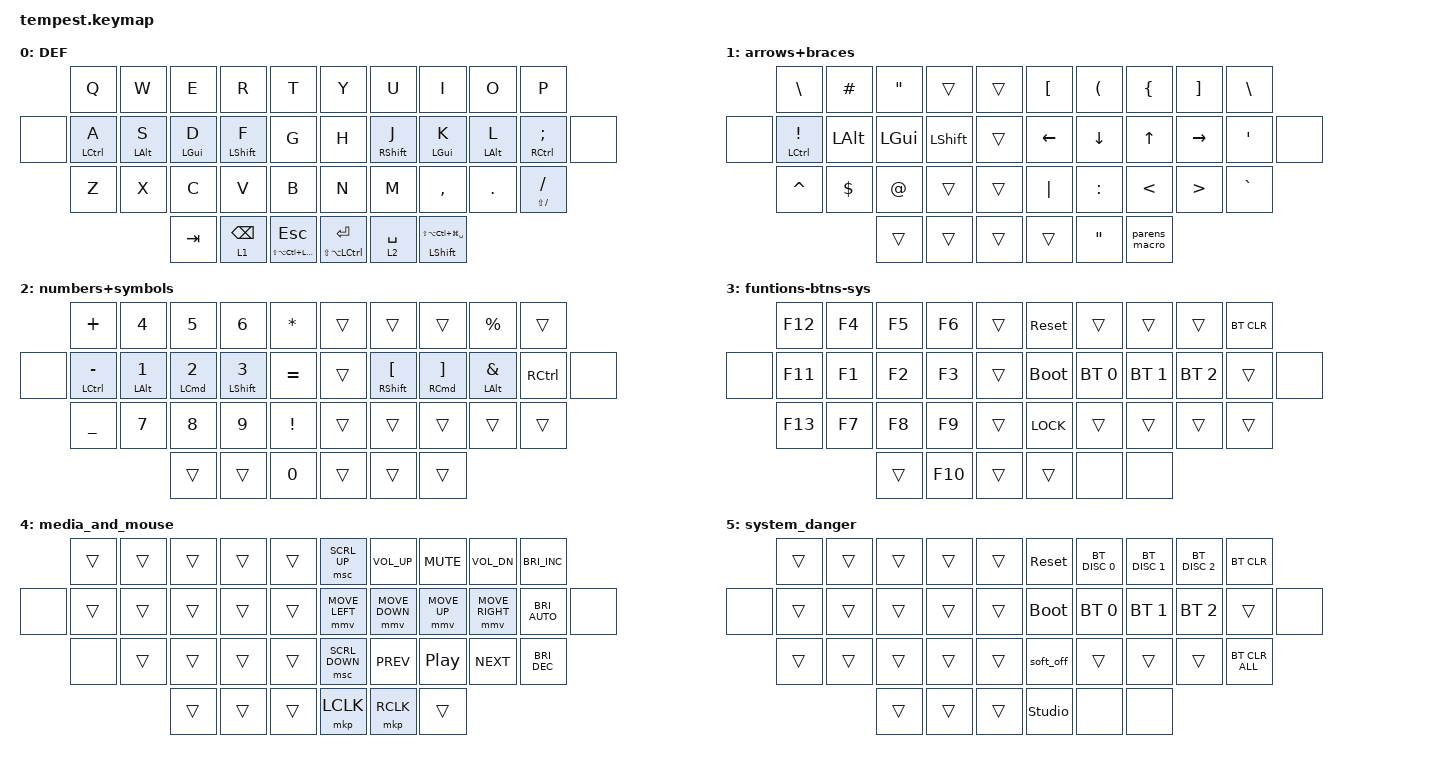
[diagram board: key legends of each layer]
#define ZMK_POINTING_DEFAULT_MOVE_VAL 700 // default: 600
#define ZMK_POINTING_DEFAULT_SCRL_VAL 10    // default: 10

#include <behaviors.dtsi>
#include <dt-bindings/zmk/bt.h>
#include <dt-bindings/zmk/keys.h>
#include <dt-bindings/zmk/pointing.h>

#define BASE 0
#define NAV  1
#define SYM  2
#define ADJ  3

/*
 * Copyright (c) 2020 The ZMK Contributors
 *
 * SPDX-License-Identifier: MIT
 */

&lt {
    quick-tap-ms = <200>;
    tapping-term-ms = <150>;
    flavor = "balanced";
};

&mt { quick-tap-ms = <200>; };

/ {
    behaviors {
        thumb_ht: thumb_hold_tap {
            compatible = "zmk,behavior-hold-tap";
            label = "HOMEROW_MODS";
            #binding-cells = <2>;
            tapping-term-ms = <150>;
            flavor = "balanced";
            bindings = <&kp>, <&kp>;

            quick-tap-ms = <180>;
            hold-trigger-key-positions = <0 1 2 3 4 14 11 12 13 14 20 22 23 24 5 6 7 8 9 15 16 17 18 19 25 26 27 28 29 30 31>;
        };

        hml: left_homerow_mods {
            compatible = "zmk,behavior-hold-tap";
            #binding-cells = <2>;
            flavor = "balanced";
            tapping-term-ms = <220>;
            quick-tap-ms = <200>;
            require-prior-idle-ms = <100>;
            bindings = <&kp>, <&kp>;

            hold-trigger-key-positions = <5 6 7 8 9 16 17 18 19 27 28 29 30 31 35 36 37 20>;
            hold-trigger-on-release;
        };

        hmr: right_homerow_mods {
            compatible = "zmk,behavior-hold-tap";
            #binding-cells = <2>;
            flavor = "balanced";
            tapping-term-ms = <220>;
            quick-tap-ms = <200>;
            require-prior-idle-ms = <100>;
            bindings = <&kp>, <&kp>;

            hold-trigger-key-positions = <0 1 2 3 4 11 12 13 14 22 23 24 32 33 25 26 15 34>;
            hold-trigger-on-release;
        };

        as: auto_shift {
            compatible = "zmk,behavior-hold-tap";
            label = "AUTO_SHIFT";
            bindings = <&kp>, <&kp>;

            #binding-cells = <2>;
            flavor = "tap-preferred";
            tapping-term-ms = <250>;
            require-prior-idle-ms = <100>;
        };

        hml_fast: left_homerow_mods_fast {
            compatible = "zmk,behavior-hold-tap";
            #binding-cells = <2>;
            flavor = "balanced";
            tapping-term-ms = <200>;
            quick-tap-ms = <200>;
            require-prior-idle-ms = <80>;
            bindings = <&kp>, <&kp>;

            hold-trigger-key-positions = <5 6 7 8 9 16 17 18 19 27 28 29 30 31 20 21>;
            hold-trigger-on-release;
            label = "HML_FAST";
        };

        hmr_fast: right_homerow_mods_fast {
            compatible = "zmk,behavior-hold-tap";
            #binding-cells = <2>;
            flavor = "balanced";
            tapping-term-ms = <200>;
            quick-tap-ms = <200>;
            require-prior-idle-ms = <80>;
            bindings = <&kp>, <&kp>;

            hold-trigger-key-positions = <0 1 2 3 4 10 11 12 13 14 22 23 24 32 33 25 26 15 34>;
            hold-trigger-on-release;
            label = "HMR_FAST";
        };
    };

    macros {
        thin_arrow: thin_arrow {
            compatible = "zmk,behavior-macro";
            #binding-cells = <0>;
            bindings = <&kp MINUS &kp GT>;
            label = "THIN_ARROW";
        };

        thick_arrow: thick_arrow {
            compatible = "zmk,behavior-macro";
            #binding-cells = <0>;
            bindings = <&kp EQUAL &kp GREATER_THAN>;
            label = "THICK_ARROW";
        };

        rs_lambda_macro: rs_lambda_macro {
            compatible = "zmk,behavior-macro";
            #binding-cells = <0>;
            bindings = <&kp PIPE &kp PIPE &kp LEFT>;
            label = "RS_LAMBDA_MACRO";
        };

        parens_macro: parens_macto {
            compatible = "zmk,behavior-macro";
            #binding-cells = <0>;
            bindings = <&kp LEFT_PARENTHESIS &kp RIGHT_PARENTHESIS &kp LEFT>;
            label = "PARENS_MACTO";
        };
    };

    combos {
        compatible = "zmk,combos";

        arr-right-paren {
            bindings = <&kp RIGHT_PARENTHESIS>;
            key-positions = <6 7>;
            layers = <1>;
        };

        arr-right-curly {
            bindings = <&kp RIGHT_BRACE>;
            key-positions = <7 8>;
            layers = <1>;
        };

        arr-right-square-bracket {
            bindings = <&kp RIGHT_BRACKET>;
            key-positions = <5 6>;
            layers = <1>;
        };

        def-mcommadot-to-fkeys+s+space {
            bindings = <&lt 3 LG(SPACE)>;
            key-positions = <28 29 30>;
            layers = <0>;
        };

        def-xcv-to-media+del {
            bindings = <&lt 4 DELETE>;
            key-positions = <23 24 25>;
            layers = <0>;
        };

        def-wer-to-system-danger+caps {
            bindings = <&caps_word>;
            key-positions = <1 2 3>;
            layers = <0>;
        };

        num-thin-arr-combo {
            bindings = <&thin_arrow>;
            key-positions = <1 2>;
            layers = <2>;
        };

        num-thick-arrow-combo {
            bindings = <&thick_arrow>;
            key-positions = <2 3>;
            layers = <2>;
        };

        arr-rust-lambda {
            bindings = <&rs_lambda_macro>;
            key-positions = <27 28>;
            layers = <1>;
        };

        def-jkl-hyper-space {
            bindings = <&kp LS(LA(LC(LG(SPACE))))>;
            key-positions = <17 18 19>;
            layers = <0>;
        };

        copy_shortcut {
            bindings = <&lt 1 LG(C)>;
            key-positions = <23 24>;
        };

        def-sd-to-tab {
            bindings = <&kp TAB>;
            key-positions = <12 13>;
            layers = <0>;
        };

        num-sdf-to-equal {
            bindings = <&kp EQUAL>;
            key-positions = <12 13 14>;
            layers = <2>;
        };

        base-switch-to-system {
            bindings = <&mo 5>;
            key-positions = <0 4>;
        };

        def-comma-dot-to-colon {
            bindings = <&kp COLON>;
            key-positions = <29 30>;
            layers = <0>;
        };

        def-we-to-meh {
            bindings = <&kp LA(LC(LEFT_SHIFT))>;
            key-positions = <1 2>;
            layers = <0>;
        };
    };

    keymap {
        compatible = "zmk,keymap";

        default_layer {
            label = "DEF";
            bindings = <
       &kp Q         &kp W            &kp E            &kp R                   &kp T                                  &kp Y                                 &kp U                    &kp I                                 &kp O            &kp P
&none  &hml LCTRL A  &hml LEFT_ALT S  &hml LEFT_GUI D  &hml_fast LEFT_SHIFT F  &kp G                                  &kp H                                 &hmr_fast RIGHT_SHIFT J  &hmr LEFT_GUI K                       &hmr LEFT_ALT L  &hmr RIGHT_CONTROL SEMICOLON  &none
       &kp Z         &kp X            &kp C            &kp V                   &kp B                                  &kp N                                 &kp M                    &kp COMMA                             &kp DOT          &as LS(SLASH) SLASH
                                      &kp TAB          &lt 1 BACKSPACE         &thumb_ht LS(LA(LC(LEFT_GUI))) ESCAPE  &thumb_ht LS(LA(LEFT_CONTROL)) ENTER  &lt 2 SPACE              &mt LEFT_SHIFT LS(LA(LC(LG(SPACE))))
            >;
        };

        arrows+braces {
            bindings = <
       &kp BACKSLASH           &kp HASH    &kp DOUBLE_QUOTES  &trans     &trans  &kp LEFT_BRACKET  &kp LEFT_PARENTHESIS  &kp LEFT_BRACE  &kp RIGHT_BRACKET  &kp BACKSLASH
&none  &hml LCTRL EXCLAMATION  &kp LALT    &kp LGUI           &kp LSHFT  &trans  &kp LEFT          &kp DOWN              &kp UP          &kp RIGHT          &kp APOSTROPHE  &none
       &kp CARET               &kp DOLLAR  &kp AT             &trans     &trans  &kp PIPE          &kp COLON             &kp LESS_THAN   &kp GREATER_THAN   &kp GRAVE
                                           &trans             &trans     &trans  &trans            &kp DOUBLE_QUOTES     &parens_macro
            >;
        };

        numbers+symbols {
            bindings = <
       &kp PLUS                 &kp NUMBER_4            &kp N5                      &kp NUMBER_6              &kp STAR         &trans  &trans                         &trans                            &kp PERCENT              &trans
&none  &hml LEFT_CONTROL MINUS  &hml LEFT_ALT NUMBER_1  &hml LEFT_COMMAND NUMBER_2  &hml LEFT_SHIFT NUMBER_3  &kp EQUAL        &trans  &hmr RIGHT_SHIFT LEFT_BRACKET  &hmr RIGHT_COMMAND RIGHT_BRACKET  &hmr LEFT_ALT AMPERSAND  &kp RIGHT_CONTROL  &none
       &kp UNDERSCORE           &kp NUMBER_7            &kp NUMBER_8                &kp NUMBER_9              &kp EXCLAMATION  &trans  &trans                         &trans                            &trans                   &trans
                                                        &trans                      &trans                    &kp NUMBER_0     &trans  &trans                         &trans
            >;
        };

        funtions-btns-sys {
            bindings = <
       &kp F12  &kp F4  &kp F5  &kp F6   &trans  &sys_reset   &trans        &trans        &trans        &bt BT_CLR
&none  &kp F11  &kp F1  &kp F2  &kp F3   &trans  &bootloader  &bt BT_SEL 0  &bt BT_SEL 1  &bt BT_SEL 2  &trans      &none
       &kp F13  &kp F7  &kp F8  &kp F9   &trans  &kp K_LOCK   &trans        &trans        &trans        &trans
                        &trans  &kp F10  &trans  &trans       &none         &none
            >;
        };

        media_and_mouse {
            bindings = <
       &trans  &trans  &trans  &trans  &trans  &msc SCRL_UP    &kp C_VOLUME_UP  &kp K_MUTE        &kp C_VOL_DN     &kp C_BRIGHTNESS_INC
&none  &trans  &trans  &trans  &trans  &trans  &mmv MOVE_LEFT  &mmv MOVE_DOWN   &mmv MOVE_UP      &mmv MOVE_RIGHT  &kp C_BRIGHTNESS_AUTO  &none
       &none   &trans  &trans  &trans  &trans  &msc SCRL_DOWN  &kp C_PREV       &kp C_PLAY_PAUSE  &kp C_NEXT       &kp C_BRIGHTNESS_DEC
                       &trans  &trans  &trans  &mkp LCLK       &mkp RCLK        &trans
            >;
        };

        system_danger {
            bindings = <
       &trans  &trans  &trans  &trans  &trans  &sys_reset      &bt BT_DISC 0  &bt BT_DISC 1  &bt BT_DISC 2  &bt BT_CLR
&none  &trans  &trans  &trans  &trans  &trans  &bootloader     &bt BT_SEL 0   &bt BT_SEL 1   &bt BT_SEL 2   &trans          &none
       &trans  &trans  &trans  &trans  &trans  &soft_off       &trans         &trans         &trans         &bt BT_CLR_ALL
                       &trans  &trans  &trans  &studio_unlock  &none          &none
            >;
        };
    };
};
